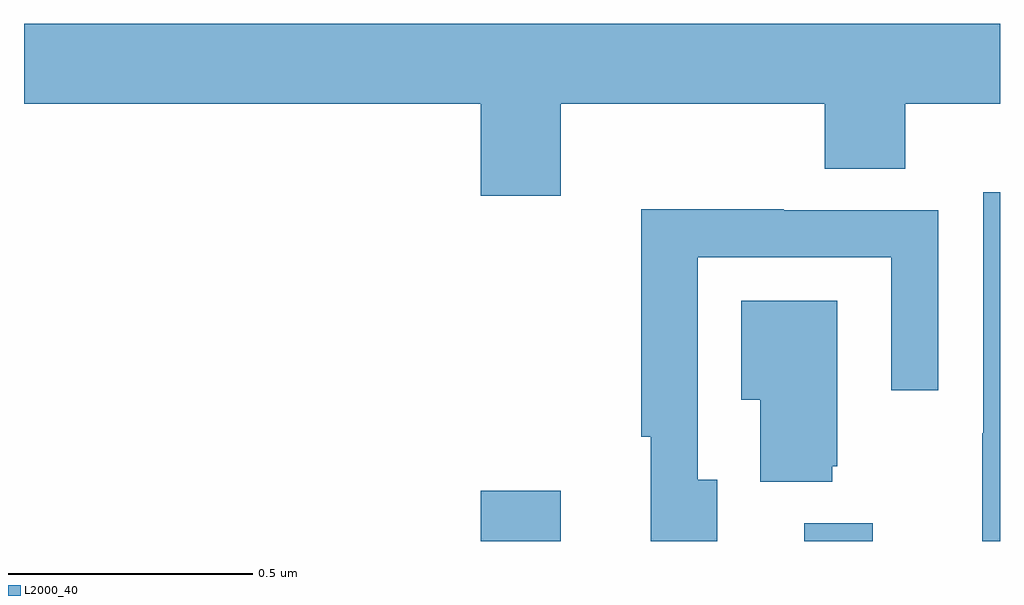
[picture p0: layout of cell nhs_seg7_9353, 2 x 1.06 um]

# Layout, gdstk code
import gdstk
lib = gdstk.Library(unit=1e-6, precision=1e-09)
def R(c, l, rs):  # rectangles x0, y0, x1, y1
    for r in rs: c.add(gdstk.rectangle(r[:2], r[2:], *l))
def P(c, l, *ps):  # polygons
    for p in ps: c.add(gdstk.Polygon(p, *l))
L2000_40 = (2000, 40)

nhs_seg7_9353 = lib.new_cell('nhs_seg7_9353')
R(nhs_seg7_9353, L2000_40, [(236.936,1053,237.1,1053.103), (237.599,1053,237.739,1053.037)])
P(nhs_seg7_9353, L2000_40, [(237.1,1053.896),(237.641,1053.896),(237.641,1053.763),(237.806,1053.763),(237.806,1053.896),(238,1053.896),(238,1054.06),(236,1054.06),(236,1053.896),(236.936,1053.896),(236.936,1053.708),(237.1,1053.708)],
  [(238,1053.715),(237.966,1053.715),(237.966,1053.221),(237.964,1053.221),(237.964,1053),(238,1053)],
  [(237.421,1053.126),(237.381,1053.126),(237.381,1053.582),(237.777,1053.582),(237.777,1053.309),(237.873,1053.309),(237.873,1053.678),(237.557,1053.678),(237.557,1053.68),(237.265,1053.68),(237.265,1053.214),(237.284,1053.214),(237.284,1053),(237.421,1053)],
  [(237.656,1053.153),(237.667,1053.153),(237.667,1053.493),(237.47,1053.493),(237.47,1053.29),(237.509,1053.29),(237.509,1053.122),(237.656,1053.122)])

lib.write_gds('nhs_seg7_9353.gds')
